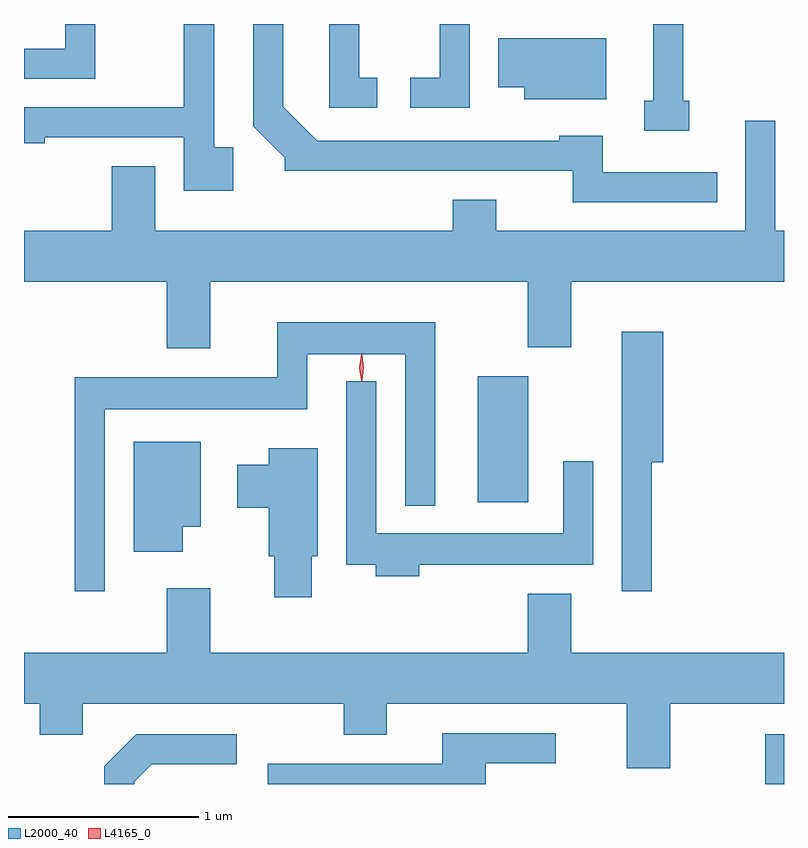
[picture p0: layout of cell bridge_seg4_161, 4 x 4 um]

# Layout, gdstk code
import gdstk
lib = gdstk.Library(unit=1e-6, precision=1e-09)
def R(c, l, rs):  # rectangles x0, y0, x1, y1
    for r in rs: c.add(gdstk.rectangle(r[:2], r[2:], *l))
def P(c, l, *ps):  # polygons
    for p in ps: c.add(gdstk.Polygon(p, *l))
L2000_40 = (2000, 40)
L4165_0 = (4165, 0)

bridge_seg4_161 = lib.new_cell('bridge_seg4_161')
R(bridge_seg4_161, L2000_40, [(883.881,1316.513,883.979,1316.774), (882.366,1317.996,882.634,1318.659)])
P(bridge_seg4_161, L2000_40, [(881.079,1319.864),(880.979,1319.864),(880.979,1320.513),(880.821,1320.513),(880.821,1320.074),(879.979,1320.074),(879.979,1319.886),(880.089,1319.886),(880.089,1319.916),(880.821,1319.916),(880.821,1319.636),(881.079,1319.636)],
  [(883.628,1319.734),(883.024,1319.734),(883.024,1319.924),(882.796,1319.924),(882.796,1319.899),(881.522,1319.899),(881.344,1320.077),(881.344,1320.513),(881.186,1320.513),(881.186,1319.974),(881.351,1319.809),(881.351,1319.741),(882.866,1319.741),(882.866,1319.576),(883.628,1319.576)],
  [(881.838,1320.229),(881.744,1320.229),(881.744,1320.513),(881.586,1320.513),(881.586,1320.071),(881.838,1320.071)],
  [(880.354,1320.513),(880.196,1320.513),(880.196,1320.384),(879.979,1320.384),(879.979,1320.226),(880.354,1320.226)],
  [(882.324,1320.513),(882.166,1320.513),(882.166,1320.229),(882.013,1320.229),(882.013,1320.071),(882.324,1320.071)],
  [(883.479,1320.109),(883.449,1320.109),(883.449,1320.513),(883.291,1320.513),(883.291,1320.109),(883.243,1320.109),(883.243,1319.951),(883.479,1319.951)],
  [(883.044,1320.439),(882.476,1320.439),(882.476,1320.181),(882.611,1320.181),(882.611,1320.116),(883.044,1320.116)],
  [(880.669,1319.764),(880.441,1319.764),(880.441,1319.424),(879.979,1319.424),(879.979,1319.156),(880.731,1319.156),(880.731,1318.806),(880.959,1318.806),(880.959,1319.156),(882.631,1319.156),(882.631,1318.811),(882.859,1318.811),(882.859,1319.156),(883.979,1319.156),(883.979,1319.424),(883.934,1319.424),(883.934,1320.003),(883.776,1320.003),(883.776,1319.424),(882.464,1319.424),(882.464,1319.589),(882.236,1319.589),(882.236,1319.424),(880.669,1319.424)],
  [(880.404,1318.486),(881.469,1318.486),(881.469,1318.776),(881.986,1318.776),(881.986,1317.978),(882.144,1317.978),(882.144,1318.944),(881.311,1318.944),(881.311,1318.654),(880.246,1318.654),(880.246,1317.528),(880.404,1317.528)],
  [(883.284,1318.206),(883.344,1318.206),(883.344,1318.894),(883.126,1318.894),(883.126,1317.528),(883.284,1317.528)],
  [(882.059,1317.666),(882.974,1317.666),(882.974,1318.213),(882.816,1318.213),(882.816,1317.834),(881.834,1317.834),(881.834,1318.633),(881.676,1318.633),(881.676,1317.666),(881.831,1317.666),(881.831,1317.606),(882.059,1317.606)],
  [(880.814,1317.866),(880.909,1317.866),(880.909,1318.314),(880.556,1318.314),(880.556,1317.736),(880.814,1317.736)],
  [(881.494,1317.711),(881.524,1317.711),(881.524,1318.279),(881.266,1318.279),(881.266,1318.194),(881.101,1318.194),(881.101,1317.966),(881.266,1317.966),(881.266,1317.711),(881.296,1317.711),(881.296,1317.496),(881.494,1317.496)],
  [(883.379,1316.936),(883.979,1316.936),(883.979,1317.204),(882.859,1317.204),(882.859,1317.514),(882.631,1317.514),(882.631,1317.204),(880.959,1317.204),(880.959,1317.544),(880.731,1317.544),(880.731,1317.204),(879.979,1317.204),(879.979,1316.936),(880.061,1316.936),(880.061,1316.771),(880.289,1316.771),(880.289,1316.936),(881.661,1316.936),(881.661,1316.771),(881.889,1316.771),(881.889,1316.936),(883.151,1316.936),(883.151,1316.596),(883.379,1316.596)],
  [(882.409,1316.621),(882.778,1316.621),(882.778,1316.779),(882.181,1316.779),(882.181,1316.619),(881.261,1316.619),(881.261,1316.513),(882.409,1316.513)],
  [(880.559,1316.524),(880.652,1316.616),(881.098,1316.616),(881.098,1316.774),(880.569,1316.774),(880.401,1316.607),(880.401,1316.513),(880.559,1316.513)])
P(bridge_seg4_161, L4165_0, [(881.753,1318.638),(881.753,1318.638),(881.743,1318.704),(881.753,1318.771),(881.753,1318.771),(881.754,1318.771),(881.763,1318.704),(881.754,1318.638)],
  [(881.757,1318.634),(881.757,1318.635),(881.748,1318.704),(881.757,1318.773),(881.758,1318.774),(881.758,1318.773),(881.767,1318.704),(881.758,1318.635)])

lib.write_gds('bridge_seg4_161.gds')
